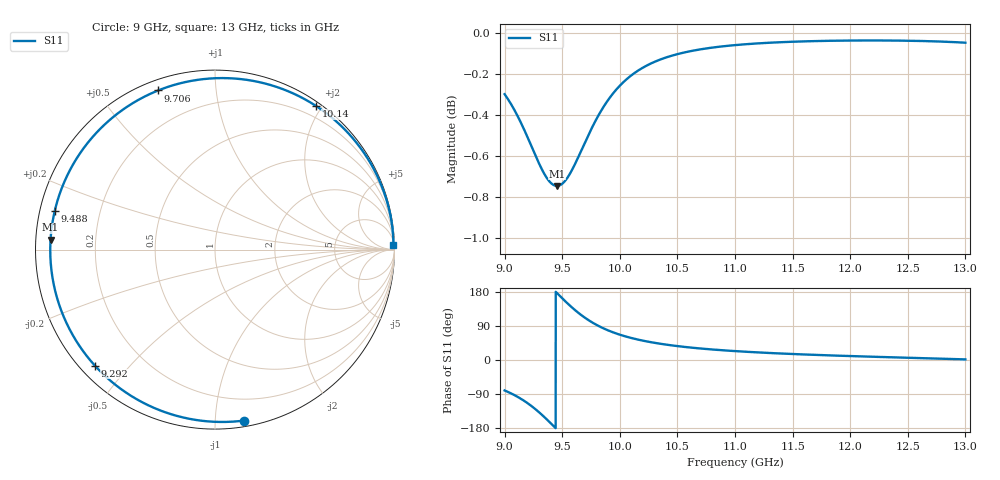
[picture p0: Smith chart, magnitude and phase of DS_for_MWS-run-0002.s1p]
! TOUCHSTONE file generated by CST DESIGN STUDIO
! Date and time: Tue Feb  4 13:32:28 2025
! Project name: C:\Work\MatlabApps\UnitCellOptimizationMatlab\CST\unitcell.cst
! Tree item: Tasks\Sweep1\SPara1\S-Parameters
! Header version: 2024
! Port assignment regex: !\s*Touchstone port\s*([0-9]+)\s*=\s*(CST MWS port|CST DES external port|CST DES block port)\s*(.+)\s* \(\"(.*)\"\)(\s*mode\s*([0-9]+))?.*
! Touchstone port assignment:
! Touchstone port 1 = CST DES external port 1 ("")
# GHz S MA R 50
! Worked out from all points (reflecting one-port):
!   4001 points, 9 GHz to 13 GHz, reference 50 ohm
!   lowest |S11| = -0.7 dB at 9.455 GHz (marker M1), VSWR 23.35, Z = 2.14 + j1.52 ohm
!   phase of S11 starts at -80 deg and turns -278 deg over the sweep
!   S11 on the Smith chart (normalised r, x): 9 GHz: 0.04, -1.18; 9.292 GHz: 0.04, -0.40; 9.488 GHz: 0.04, +0.12; 9.706 GHz: 0.05, +0.70; 10.14 GHz: 0.05, +1.92; 13 GHz: 14, +68
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9  0.9662 -80.4
9.091  0.957 -93.6
9.164  0.948 -106.7
9.23  0.9389 -120.8
9.292  0.9304 -136.0
9.334  0.9252 -147.5
9.379  0.9209 -160.5
9.417  0.9186 -171.9
9.455  0.9179 176.5
9.488  0.9185 166.5
9.5  0.919 162.9
9.554  0.9229 147.1
9.604  0.9283 133.5
9.654  0.9347 121.2
9.706  0.9416 109.7
9.763  0.9488 98.7
9.827  0.9561 88.1
9.911  0.9641 76.6
10  0.9708 66.8
10.143  0.9784 54.9
10.304  0.9839 45.2
10.5  0.9881 36.7
10.723  0.991 29.7
11  0.9931 23.5
11.5  0.995 15.8
12  0.9957 10.4
12.5  0.9955 5.9
13  0.9944 1.6
